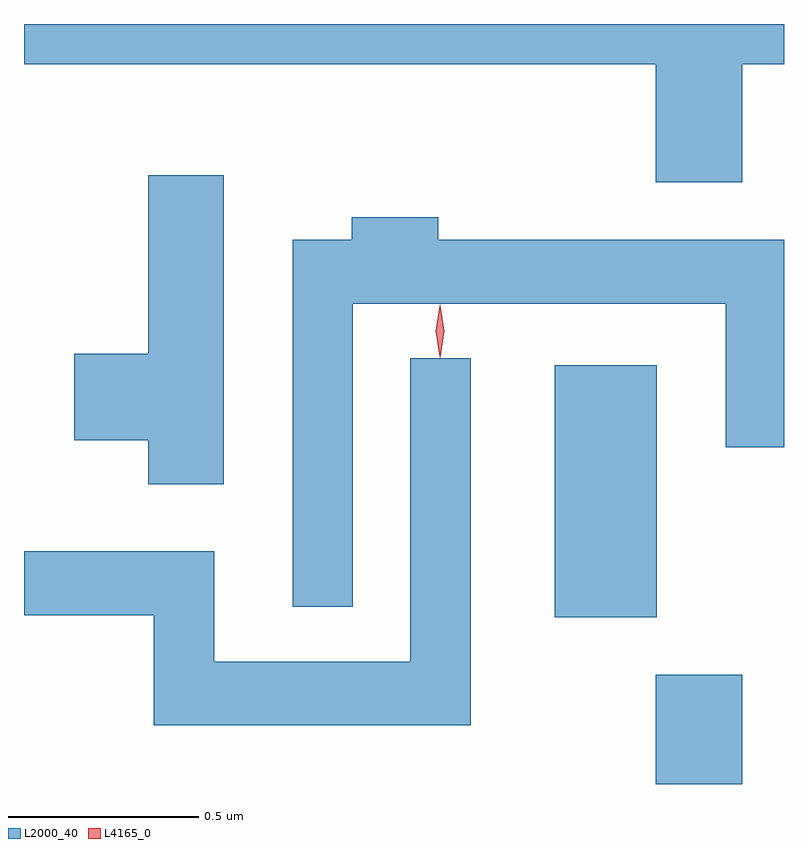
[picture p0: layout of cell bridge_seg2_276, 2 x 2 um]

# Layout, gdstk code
import gdstk
lib = gdstk.Library(unit=1e-6, precision=1e-09)
def R(c, l, rs):  # rectangles x0, y0, x1, y1
    for r in rs: c.add(gdstk.rectangle(r[:2], r[2:], *l))
def P(c, l, *ps):  # polygons
    for p in ps: c.add(gdstk.Polygon(p, *l))
L2000_40 = (2000, 40)
L4165_0 = (4165, 0)

bridge_seg2_276 = lib.new_cell('bridge_seg2_276')
R(bridge_seg2_276, L2000_40, [(633.621,1070.842,633.849,1071.129), (633.356,1071.281,633.624,1071.944)])
P(bridge_seg2_276, L2000_40, [(633.849,1072.736),(633.959,1072.736),(633.959,1072.842),(631.959,1072.842),(631.959,1072.736),(633.621,1072.736),(633.621,1072.426),(633.849,1072.426)],
  [(632.484,1072.444),(632.286,1072.444),(632.286,1071.974),(632.091,1071.974),(632.091,1071.746),(632.286,1071.746),(632.286,1071.631),(632.484,1071.631)],
  [(632.824,1072.106),(633.806,1072.106),(633.806,1071.728),(633.959,1071.728),(633.959,1072.274),(633.049,1072.274),(633.049,1072.334),(632.821,1072.334),(632.821,1072.274),(632.666,1072.274),(632.666,1071.308),(632.824,1071.308)],
  [(633.134,1071.963),(632.976,1071.963),(632.976,1071.164),(632.459,1071.164),(632.459,1071.454),(631.959,1071.454),(631.959,1071.286),(632.301,1071.286),(632.301,1070.996),(633.134,1070.996)])
P(bridge_seg2_276, L4165_0, [(633.054,1071.964),(633.045,1072.033),(633.054,1072.102),(633.055,1072.103),(633.055,1072.102),(633.065,1072.033),(633.055,1071.964),(633.055,1071.964)],
  [(633.053,1071.967),(633.053,1071.967),(633.043,1072.034),(633.053,1072.1),(633.053,1072.101),(633.054,1072.1),(633.063,1072.034),(633.054,1071.967)])

lib.write_gds('bridge_seg2_276.gds')
